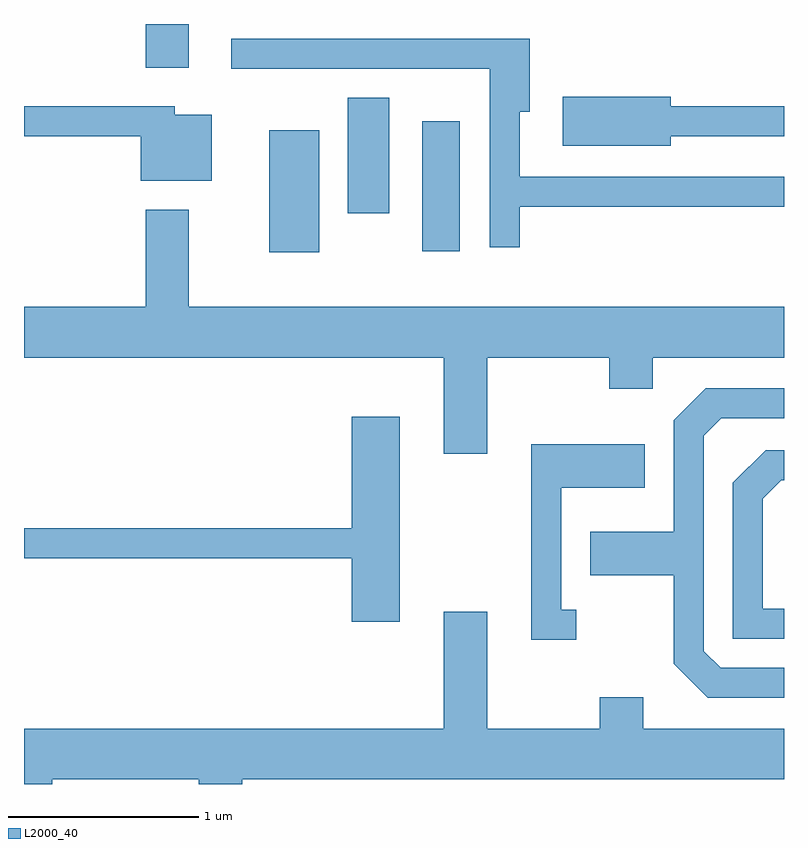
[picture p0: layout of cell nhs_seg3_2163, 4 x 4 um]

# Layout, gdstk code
import gdstk
lib = gdstk.Library(unit=1e-6, precision=1e-09)
def R(c, l, rs):  # rectangles x0, y0, x1, y1
    for r in rs: c.add(gdstk.rectangle(r[:2], r[2:], *l))
def P(c, l, *ps):  # polygons
    for p in ps: c.add(gdstk.Polygon(p, *l))
L2000_40 = (2000, 40)

nhs_seg3_2163 = lib.new_cell('nhs_seg3_2163')
R(nhs_seg3_2163, L2000_40, [(248.901,1228.691,249.164,1229.334), (249.706,1228.696,249.904,1229.379), (249.316,1228.896,249.534,1229.504), (248.251,1229.661,248.479,1229.892)])
P(nhs_seg3_2163, L2000_40, [(250.219,1228.931),(251.611,1228.931),(251.611,1229.089),(250.219,1229.089),(250.219,1229.431),(250.274,1229.431),(250.274,1229.814),(248.703,1229.814),(248.703,1229.656),(250.061,1229.656),(250.061,1228.718),(250.219,1228.718)],
  [(251.014,1229.301),(251.611,1229.301),(251.611,1229.459),(251.014,1229.459),(251.014,1229.509),(250.446,1229.509),(250.446,1229.251),(251.014,1229.251)],
  [(248.599,1229.414),(248.404,1229.414),(248.404,1229.459),(247.611,1229.459),(247.611,1229.301),(248.226,1229.301),(248.226,1229.066),(248.599,1229.066)],
  [(250.049,1228.136),(250.691,1228.136),(250.691,1227.971),(250.919,1227.971),(250.919,1228.136),(251.611,1228.136),(251.611,1228.404),(248.479,1228.404),(248.479,1228.914),(248.251,1228.914),(248.251,1228.404),(247.611,1228.404),(247.611,1228.136),(249.821,1228.136),(249.821,1227.631),(250.049,1227.631)],
  [(251.611,1226.504),(251.277,1226.504),(251.189,1226.592),(251.189,1227.724),(251.282,1227.816),(251.611,1227.816),(251.611,1227.974),(251.199,1227.974),(251.031,1227.807),(251.031,1227.219),(250.591,1227.219),(250.591,1226.991),(251.031,1226.991),(251.031,1226.524),(251.209,1226.346),(251.611,1226.346)],
  [(249.589,1227.824),(249.336,1227.824),(249.336,1227.239),(247.611,1227.239),(247.611,1227.081),(249.336,1227.081),(249.336,1226.746),(249.589,1226.746)],
  [(250.518,1226.809),(250.439,1226.809),(250.439,1227.451),(250.879,1227.451),(250.879,1227.679),(250.281,1227.679),(250.281,1226.651),(250.518,1226.651)],
  [(251.611,1226.814),(251.499,1226.814),(251.499,1227.394),(251.597,1227.491),(251.611,1227.491),(251.611,1227.649),(251.514,1227.649),(251.341,1227.477),(251.341,1226.656),(251.611,1226.656)],
  [(247.759,1225.916),(248.531,1225.916),(248.531,1225.892),(248.759,1225.892),(248.759,1225.916),(251.611,1225.916),(251.611,1226.184),(250.869,1226.184),(250.869,1226.349),(250.641,1226.349),(250.641,1226.184),(250.049,1226.184),(250.049,1226.799),(249.821,1226.799),(249.821,1226.184),(247.611,1226.184),(247.611,1225.892),(247.759,1225.892)])

lib.write_gds('nhs_seg3_2163.gds')
